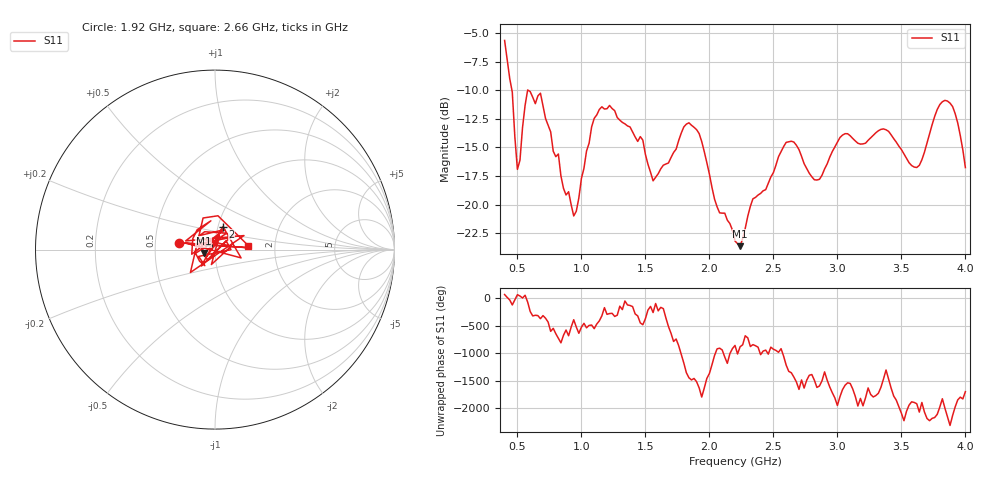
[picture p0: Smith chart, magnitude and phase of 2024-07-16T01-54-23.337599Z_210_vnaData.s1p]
!Created with skrf (http://scikit-rf.org).
# Hz S RI R 50.0
!freq ReS11 ImS11
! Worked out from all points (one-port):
!   181 points, 400 MHz to 4 GHz, reference 50 ohm
!   lowest |S11| = -23.6 dB at 2.24 GHz (marker M1), VSWR 1.14, Z = 44.1 - j1.92 ohm
!   |S11| at or under -10 dB: 457.1 MHz to 579.8 MHz (122.6 MHz wide, 23.7 % of centre); 582.1 MHz to end of sweep
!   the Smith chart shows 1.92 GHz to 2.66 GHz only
!   S11 on the Smith chart (normalised r, x): 1.92 GHz: 0.66, +0.05; 2 GHz: 1.05, +0.28; 2.66 GHz: 1.46, +0.07
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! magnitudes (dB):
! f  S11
! 400 MHz  -5.7
! 460 MHz  -10.2
! 500 MHz  -16.9
! 580 MHz  -10.0
! 680 MHz  -10.3
! 860 MHz  -18.6
! 940 MHz  -21.0
! 1.1 GHz  -12.5
! 1.22 GHz  -11.3
! 1.3 GHz  -12.6
! 1.48 GHz  -14.4
! 1.56 GHz  -17.9
! 1.76 GHz  -14.4
! 1.84 GHz  -12.9
! 1.92 GHz  -13.8
! 2 GHz  -17.3
! 2.2 GHz  -23.2
! 2.24 GHz  -23.6
! 2.34 GHz  -19.5
! 2.66 GHz  -14.5
! 2.84 GHz  -17.9
! 3.1 GHz  -14.0
! 3.38 GHz  -13.5
! 3.56 GHz  -16.3
! 3.64 GHz  -16.6
! 3.84 GHz  -10.9
! 3.92 GHz  -12.0
! 4 GHz  -16.8
